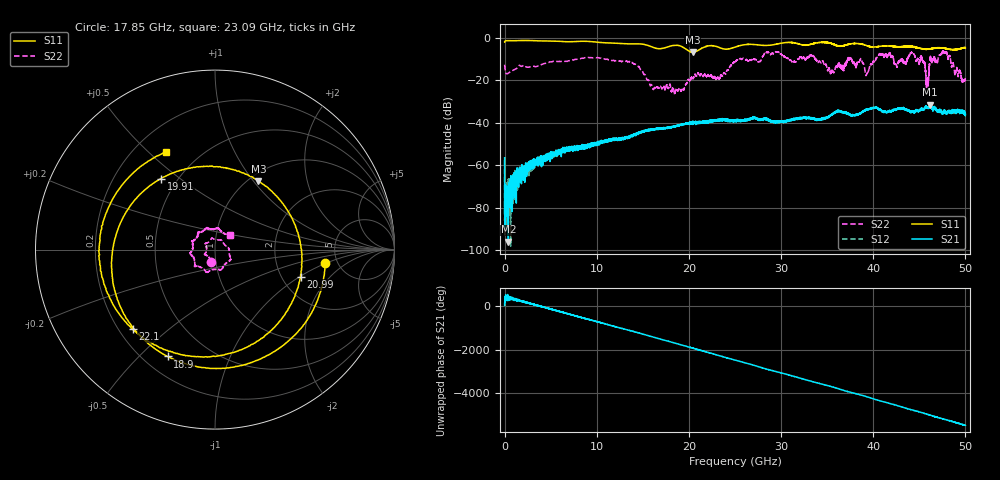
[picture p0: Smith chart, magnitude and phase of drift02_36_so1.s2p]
!Created with skrf (http://scikit-rf.org).
# Hz S RI R 50.0
!freq ReS11 ImS11 ReS21 ImS21 ReS12 ImS12 ReS22 ImS22
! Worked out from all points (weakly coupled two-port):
!   10001 points, 300 kHz to 50 GHz, reference 50 ohm
!   highest |S21| = -31.52 dB at 46.17 GHz (marker M1); lowest = -96.0 dB at 405.3 MHz (marker M2)
!   lowest |S11| = -6.9 dB at 20.41 GHz (marker M3), VSWR 2.64, Z = 55.4 + j52.9 ohm
!   |S11| at or under -10 dB: nowhere
!   |S22| runs from -26.7 to -6.2 dB; largest |S21 - S12| = 0.0034
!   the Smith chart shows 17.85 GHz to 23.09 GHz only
!   S11 on the Smith chart (normalised r, x): 17.85 GHz: 3.98, -0.94; 18.9 GHz: 0.29, -0.61; 19.91 GHz: 0.41, +0.43; 20.99 GHz: 2.52, -1.03; 22.1 GHz: 0.25, -0.38; 23.09 GHz: 0.33, +0.57
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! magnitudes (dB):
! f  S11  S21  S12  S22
! 300 kHz  -2.1  -56.5  -57.8  -12.8
! 405.3 MHz  -1.4  -96.0  -67.4  -16.7
! 2.915 GHz  -1.4  -59.8  -58.8  -13.6
! 8.335 GHz  -1.7  -50.9  -51.5  -9.7
! 13.7 GHz  -3.0  -46.2  -46.3  -11.7
! 16.67 GHz  -5.2  -42.7  -42.9  -23.6
! 17.85 GHz  -4.2  -42.3  -42.3  -22.9
! 18.9 GHz  -3.7  -41.3  -41.3  -24.0
! 19.91 GHz  -6.1  -40.3  -40.5  -19.8
! 20.41 GHz  -6.9  -40.8  -40.0  -19.1
! 20.99 GHz  -6.0  -39.6  -39.9  -16.6
! 22.1 GHz  -3.9  -39.6  -39.5  -17.5
! 23.09 GHz  -4.3  -39.0  -39.0  -18.8
! 25 GHz  -4.5  -38.8  -39.4  -11.5
! 33.34 GHz  -3.0  -38.0  -37.9  -8.4
! 39.32 GHz  -3.8  -33.9  -33.7  -17.0
! 41.67 GHz  -4.0  -34.7  -34.9  -7.8
! 44.27 GHz  -4.3  -34.5  -34.5  -7.4
! 45.84 GHz  -5.5  -33.1  -32.8  -20.0
! 46.17 GHz  -5.4  -31.5  -31.8  -10.3
! 47.75 GHz  -5.0  -34.3  -34.4  -6.8
! 50 GHz  -4.7  -35.9  -35.6  -19.1
